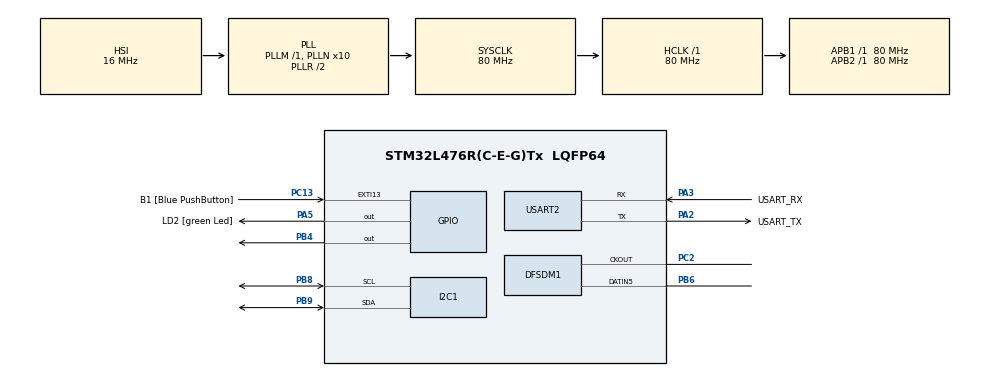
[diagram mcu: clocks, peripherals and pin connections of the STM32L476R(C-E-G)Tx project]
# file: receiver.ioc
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DFSDM1.Divider=32
DFSDM1.DmaMode_reg_FIL0=ENABLE
DFSDM1.FastMode_reg_FIL0=ENABLE
DFSDM1.Filter_regChannel_FIL0=DFSDM_CHANNEL_5
DFSDM1.Fosr_FIL0=32
DFSDM1.Oversampling_CH5=10
DFSDM1.RightBitShift_CH5=0x02
DFSDM1.SincOrder_FIL0=DFSDM_FILTER_SINC5_ORDER
DFSDM1.Type_spi_CH5=DFSDM_CHANNEL_SPI_RISING
Dma.DFSDM1_FLT0.0.Direction=DMA_PERIPH_TO_MEMORY
Dma.DFSDM1_FLT0.0.Instance=DMA1_Channel4
Dma.DFSDM1_FLT0.0.MemDataAlignment=DMA_MDATAALIGN_WORD
Dma.DFSDM1_FLT0.0.MemInc=DMA_MINC_ENABLE
Dma.DFSDM1_FLT0.0.Mode=DMA_CIRCULAR
Dma.DFSDM1_FLT0.0.PeriphDataAlignment=DMA_PDATAALIGN_WORD
Dma.DFSDM1_FLT0.0.PeriphInc=DMA_PINC_DISABLE
Dma.DFSDM1_FLT0.0.Priority=DMA_PRIORITY_LOW
Dma.Request0=DFSDM1_FLT0
Mcu.Family=STM32L4
Mcu.Name=STM32L476R(C-E-G)Tx
Mcu.Package=LQFP64
NVIC.DMA1_Channel4_IRQn=true\:0\:0\:false\:false\:true\:false
NVIC.EXTI15_10_IRQn=true\:0\:0\:false\:false\:true\:true
NVIC.PriorityGroup=NVIC_PRIORITYGROUP_4
NVIC.USART2_IRQn=true\:0\:0\:false\:false\:true\:true
PA13\ (JTMS-SWDIO).GPIO_Label=TMS
PA13\ (JTMS-SWDIO).Mode=Serial_Wire
PA13\ (JTMS-SWDIO).Signal=SYS_JTMS-SWDIO
PA14\ (JTCK-SWCLK).GPIO_Label=TCK
PA14\ (JTCK-SWCLK).Mode=Serial_Wire
PA14\ (JTCK-SWCLK).Signal=SYS_JTCK-SWCLK
PA2.GPIO_Label=USART_TX
PA2.GPIO_Mode=GPIO_MODE_AF_PP
PA2.GPIO_PuPd=GPIO_NOPULL
PA2.GPIO_Speed=GPIO_SPEED_FREQ_VERY_HIGH
PA2.Mode=Asynchronous
PA2.Signal=USART2_TX
PA3.GPIO_Label=USART_RX
PA3.GPIO_Mode=GPIO_MODE_AF_PP
PA3.GPIO_PuPd=GPIO_NOPULL
PA3.GPIO_Speed=GPIO_SPEED_FREQ_VERY_HIGH
PA3.Mode=Asynchronous
PA3.Signal=USART2_RX
PA5.GPIO_Label=LD2 [green Led]
PA5.GPIO_ModeDefaultOutputPP=GPIO_MODE_OUTPUT_PP
PA5.GPIO_PuPd=GPIO_NOPULL
PA5.GPIO_Speed=GPIO_SPEED_FREQ_LOW
PA5.Signal=GPIO_Output
PB3\ (JTDO-TRACESWO).GPIO_Label=SWO
PB3\ (JTDO-TRACESWO).Signal=SYS_JTDO-SWO
PB4\ (NJTRST).Signal=GPIO_Output
PB6.Signal=S_DATAIN5DFSDM1
PB8.Mode=I2C
PB8.Signal=I2C1_SCL
PB9.Mode=I2C
PB9.Signal=I2C1_SDA
PC13.GPIO_Label=B1 [Blue PushButton]
PC13.GPIO_ModeDefaultEXTI=GPIO_MODE_IT_FALLING
PC13.GPIO_PuPd=GPIO_NOPULL
PC13.Signal=GPXTI13
PC2.Signal=S_CKOUTDFSDM1
ProjectManager.HeapSize=0x200
ProjectManager.StackSize=0x400
ProjectManager.TargetToolchain=TrueSTUDIO
RCC.ADCFreq_Value=64000000
RCC.AHBFreq_Value=80000000
RCC.APB1Freq_Value=80000000
RCC.APB1TimFreq_Value=80000000
RCC.APB2Freq_Value=80000000
RCC.APB2TimFreq_Value=80000000
RCC.CortexFreq_Value=80000000
RCC.HCLKFreq_Value=80000000
RCC.HSE_VALUE=8000000
RCC.HSI_VALUE=16000000
RCC.LSE_VALUE=32768
RCC.MSI_VALUE=4000000
RCC.PLLN=10
RCC.PLLSourceVirtual=RCC_PLLSOURCE_HSI
RCC.PREFETCH_ENABLE=1
RCC.SYSCLKFreq_VALUE=80000000
RCC.SYSCLKSource=RCC_SYSCLKSOURCE_PLLCLK
RCC.USBFreq_Value=64000000
RCC.VCOOutputFreq_Value=160000000
SH.S_CKOUTDFSDM1.0=DFSDM1_CKOUT,PDM_SPI_input_from_ch5_and_internal_clock
SH.S_DATAIN5DFSDM1.0=DFSDM1_DATIN5,PDM_SPI_input_from_ch5_and_internal_clock
USART2.VirtualMode-Asynchronous=VM_ASYNC
USART2.WordLength=WORDLENGTH_8B
board=NUCLEO-L476RG

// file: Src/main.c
/* USER CODE BEGIN Header */
/**
 ******************************************************************************
 * @file           : main.c
 * @brief          : Main program body
 ******************************************************************************
 ** This notice applies to any and all portions of this file
 * that are not between comment pairs USER CODE BEGIN and
 * USER CODE END. Other portions of this file, whether
 * inserted by the user or by software development tools
 * are owned by their respective copyright owners.
 *
 * COPYRIGHT(c) 2018 STMicroelectronics
 *
 * Redistribution and use in source and binary forms, with or without modification,
 * are permitted provided that the following conditions are met:
 *   1. Redistributions of source code must retain the above copyright notice,
 *      this list of conditions and the following disclaimer.
 *   2. Redistributions in binary form must reproduce the above copyright notice,
 *      this list of conditions and the following disclaimer in the documentation
 *      and/or other materials provided with the distribution.
 *   3. Neither the name of STMicroelectronics nor the names of its contributors
 *      may be used to endorse or promote products derived from this software
 *      without specific prior written permission.
 *
 * THIS SOFTWARE IS PROVIDED BY THE COPYRIGHT HOLDERS AND CONTRIBUTORS "AS IS"
 * AND ANY EXPRESS OR IMPLIED WARRANTIES, INCLUDING, BUT NOT LIMITED TO, THE
 * IMPLIED WARRANTIES OF MERCHANTABILITY AND FITNESS FOR A PARTICULAR PURPOSE ARE
 * DISCLAIMED. IN NO EVENT SHALL THE COPYRIGHT HOLDER OR CONTRIBUTORS BE LIABLE
 * FOR ANY DIRECT, INDIRECT, INCIDENTAL, SPECIAL, EXEMPLARY, OR CONSEQUENTIAL
 * DAMAGES (INCLUDING, BUT NOT LIMITED TO, PROCUREMENT OF SUBSTITUTE GOODS OR
 * SERVICES; LOSS OF USE, DATA, OR PROFITS; OR BUSINESS INTERRUPTION) HOWEVER
 * CAUSED AND ON ANY THEORY OF LIABILITY, WHETHER IN CONTRACT, STRICT LIABILITY,
 * OR TORT (INCLUDING NEGLIGENCE OR OTHERWISE) ARISING IN ANY WAY OUT OF THE USE
 * OF THIS SOFTWARE, EVEN IF ADVISED OF THE POSSIBILITY OF SUCH DAMAGE.
 *
 ******************************************************************************
 */
/* USER CODE END Header */

#include "main.h"
#include "dfsdm.h"
#include "dma.h"
#include "i2c.h"
#include "usart.h"
#include "gpio.h"

/* USER CODE BEGIN Includes */
#include "math.h"
#include "stdbool.h"
#include "arm_math.h"
#include "arm_const_structs.h"
#include "chirp.h"
#include "lcd.h"
#include "stdio.h"
/* USER CODE END Includes */

/* USER CODE BEGIN PV */
/* Private variables ---------------------------------------------------------*/

const uint32_t NN_HALF = NN / 2;
const uint32_t NN_DOUBLE = NN * 2;

// flag: "new PCM data has just been copied to buf"
bool new_pcm_data = false;

// Audio sampling rate and period
float fs;
float T;

// DMA peripheral to memory buffer
int32_t buf[NN] = { 0 };

// FIFO queue of PCM data for further processing (FFT)
float fifo_queue[NN * 3] = { 0.0f };

// FFT-related
arm_rfft_fast_instance_f32 S;
float hann_window[NN];
const float WINDOW_SCALE = 2.0f * M_PI / (float) NN;

// UART output flag
bool output_result = false;

// UART input/output
uint8_t rxbuf[1];

// State machine
enum state {
  IDLE, SYNCHRONIZING, SYNCHRONIZED, DATA_RECEIVING
};
enum state state = IDLE;

const char STATE[4][16] = { "IDLE", "SYNCHRONIZING", "SYNCHRONIZED",
    "DATA_RECEIVING" };
const char SIMPLE_STATE[4] = { 'I', 'G', 'S', 'R' };

enum ope_mode {
  NORMAL, SIMPLE, DETAIL
};

const enum ope_mode MODE = DETAIL;

// Stats
struct history {
  float mag_max;  // Max magnitude in the bandwidth
  float mag_max_left;  // Max magnitude in the left
  float mag_max_right;  // Max magnitude in the right
  int32_t max_freq;  // Frequency at max magnitude in the bandwidth
  int32_t max_freq_left;   // Frequency at max magnitude in the left
  int32_t max_freq_right;  // Frequency at max magnitude in the right
  uint32_t start_time;   // DSP start time
  uint32_t finish_time;  // DSP finish time
  float mag_mean;  // Mean magnitude in the past
  float snr;  // S/N Ratio
  char rank;  // Magnitude ranking
};

uint32_t bandwidth;
uint32_t bandwidth2;
uint32_t idx_left_zero;

/* USER CODE END PV */

void SystemClock_Config(void);
/* USER CODE BEGIN PFP */
/* Private function prototypes -----------------------------------------------*/

/* USER CODE END PFP */

/* USER CODE BEGIN 0 */

int32_t idx2freq(uint32_t idx) {
  if (idx < NN_HALF) {
    return (int32_t) fs * idx / NN;
  } else {
    return ((int32_t) fs * (NN - idx) / NN) * -1;
  }
}

// Digital signal processing pipeline
void pipeline(float *signal, int updown) {

  float32_t signal_buf[NN] = { 0.0f };

  // Execute real up-chirp w/ real noise * complex up-chirp
  mult_ref_chirp(signal, updown);

  // Windowing
  arm_mult_f32(signal, hann_window, signal, NN);

  // Execute real FFT
  arm_rfft_fast_f32(&S, signal, signal_buf, 0);
  arm_copy_f32(signal_buf, signal, NN);

  // Calculate magnitude
  arm_cmplx_mag_f32(signal, signal, NN);

}

// Digital signal processing
void dsp(uint32_t sync_position, struct history *phist, float32_t mag_mean,
    int updown) {

  float32_t time_frame[NN_DOUBLE];

  float mag_max;
  float mag_max_left;
  float mag_max_right;
  uint32_t max_idx;
  uint32_t max_idx_left;
  uint32_t max_idx_right;

  // Copy PCM data to input/output buffer for DSP
  for (uint32_t n = 0; n < NN; n++) {
    time_frame[n] = fifo_queue[sync_position + n];
  }

  uint32_t start_time = HAL_GetTick();

// Digital signal processing pipeline
  pipeline(time_frame, updown);

// Calculate indexes of max magnitudes
  arm_max_f32(&time_frame[idx_left_zero], bandwidth2, &mag_max_left,
      &max_idx_left);
  arm_max_f32(&time_frame[0], bandwidth2, &mag_max_right, &max_idx_right);
  if (mag_max_left > mag_max_right) {
    mag_max = mag_max_left;
    max_idx = idx_left_zero + max_idx_left;
  } else {
    mag_max = mag_max_right;
    max_idx = max_idx_right;
  }

  uint32_t finish_time = HAL_GetTick();

  // Stats
  phist->mag_max = mag_max;
  phist->mag_max_left = mag_max_left;
  phist->mag_max_right = mag_max_right;
  phist->max_freq = idx2freq(max_idx);
  phist->max_freq_left = idx2freq(idx_left_zero + max_idx_left);
  phist->max_freq_right = idx2freq(max_idx_right);
  phist->start_time = start_time;
  phist->finish_time = finish_time;
  phist->mag_mean = mag_mean;
  phist->snr = (mag_max - mag_mean) / mag_mean;

}

float32_t symbol_snr(uint32_t sync_position, struct history *phist, int updown) {
  dsp(sync_position, phist, phist->mag_mean, updown);
  return phist->snr;
}

void set_ranks(struct history hist[], char r0, char r1) {
  hist[0].rank = r0;
  hist[1].rank = r1;
}

void resync(float32_t snr, struct history hist[], uint32_t offset,
    uint32_t *sync_position, int updown) {

  int32_t sync_position_l = *sync_position - offset;
  int32_t sync_position_r = *sync_position + offset;

  float32_t snr_l = symbol_snr(sync_position_l, &hist[2], updown);
  float32_t snr_r = symbol_snr(sync_position_r, &hist[3], updown);

  if ((snr > snr_l) && (snr > snr_r)) {
    set_ranks(&hist[2], '-', '-');
  } else {  // Adjust sync_position

    if (snr_l >= snr_r) {
      if (sync_position_l >= 0) {
        *sync_position = sync_position_l;
        set_ranks(&hist[2], 'L', '-');  // move sync_position left
      } else {
        set_ranks(&hist[2], 'l', '-');  // reached left edge
      }
    } else if (snr_l < snr_r) {
      if (sync_position_r <= NN_DOUBLE) {
        *sync_position = sync_position_r;
        set_ranks(&hist[2], '-', 'R');  // move sync_position right
      } else {
        set_ranks(&hist[2], '-', 'r');  // reached right edge
      }
    }

  }
}

void print_history(enum state prev_state, enum state state,
    struct history hist[], int num, enum ope_mode mode) {

  switch (mode) {

  case NORMAL:
    break;

  case SIMPLE:
    printf("%c => %c\n", SIMPLE_STATE[prev_state], SIMPLE_STATE[state]);
    for (int i = 0; i < num; i++) {
      printf("%c,%6.1f\n", hist[i].rank, hist[i].snr);
    }
    break;

  case DETAIL:
    printf("\nstate: %s => %s\n", STATE[prev_state], STATE[state]);
    printf(
        "r,  freq,freq_l,freq_r, t_s, t_f,      max,    max_l,    max_r, mag_mean,   snr\n");
    for (int i = 0; i < num; i++) {
      printf("%c,%6ld,%6ld,%6ld,%4lu,%4lu, %4.2e, %4.2e, %4.2e, %4.2e,%6.1f\n",
          hist[i].rank, hist[i].max_freq, hist[i].max_freq_left,
          hist[i].max_freq_right, hist[i].start_time % 1000,
          hist[i].finish_time % 1000, hist[i].mag_max, hist[i].mag_max_left,
          hist[i].mag_max_right, hist[i].mag_mean, hist[i].snr);
    }
    break;
  }
}

/* USER CODE END 0 */

int main(void) {
  /* USER CODE BEGIN 1 */

  uint32_t max_idx = 0;
  uint32_t turn = 0;
  uint32_t offset, shift;

// Stats-related
  struct history history[8];

  float mag_stat[12] = { 1E37, 1E37, 1E37, 1E37, 1E37, 1E37, 1E37, 1E37, 1E37,
      1E37, 1E37, 1E37 };

  float mag_max;
  float mag_mean;
  float mag_max_max;

  // Time frame synchronization
  uint32_t sync_cnt = 0;
  uint32_t sync_position = NN_HALF;
  float32_t snr, snr_up, snr_down;

  enum state prev_state = IDLE;

  char msg = 0U;
  int msg_cnt = 0;
  char line[17];
  int line_cnt = 0;

  /* USER CODE END 1 */

  /* MCU Configuration--------------------------------------------------------*/

  /* Reset of all peripherals, Initializes the Flash interface and the Systick. */
  HAL_Init();

  /* Configure the system clock */
  SystemClock_Config();

  /* Initialize all configured peripherals */
  MX_GPIO_Init();
  MX_DMA_Init();
  MX_USART2_UART_Init();
  MX_I2C1_Init();
  MX_DFSDM1_Init();
  /* USER CODE BEGIN 2 */

// FFT sampling rate
  fs = SystemCoreClock / hdfsdm1_channel5.Init.OutputClock.Divider
      / hdfsdm1_filter0.Init.FilterParam.Oversampling
      / hdfsdm1_filter0.Init.FilterParam.IntOversampling;

// Statistics-related
  bandwidth = (F1 - F0) * NN / fs;
  bandwidth2 = bandwidth * 2;
  idx_left_zero = NN - bandwidth2;

  // Real FFT initialization
  arm_rfft_fast_init_f32(&S, NN);

// Initialize reference chirp signal
  init_ref_chirp(fs);

// Enable UART receive interrupt
  HAL_UART_Receive_IT(&huart2, rxbuf, 1);

// Enable DMA from DFSDM to buf (peripheral to memory)
  if (HAL_DFSDM_FilterRegularStart_DMA(&hdfsdm1_filter0, buf, NN) != HAL_OK) {
    Error_Handler();
  }

// Generate Hanning window
  for (uint32_t i = 0; i < NN; i++) {
    hann_window[i] = 0.5f - 0.5f * arm_cos_f32((float) i * WINDOW_SCALE);
  }

// Print starting message
  printf("/// Receiver ///\n\n");
  printf("Sampling rate: %4.1f(kHz)\n", (float) fs / 1000.0f);
  T = 1.0f / fs * NN;
  printf("Sampling period: %.1f(msec), Samples per period: %ld\n\n",
      T * 1000.0f, NN);
  printf("Push USER button to output single-shot FFT\n");
  /* USER CODE END 2 */

  /* Infinite loop */
  /* USER CODE BEGIN WHILE */
  offset = NN / 8;
  shift = NN / 4;

  /* LCD initialization */
  lcd_init(&hi2c1);
  lcd_string("Receiver start", 15);

  /* LED initialization */
  int led_state = GPIO_PIN_SET;
  HAL_GPIO_WritePin(GPIOB, GPIO_PIN_4, led_state);

  while (1) {

    HAL_Delay(1);

    // Wait for next PCM samples from DFSDM (MEMS mic)
    if (new_pcm_data) {

      prev_state = state;

      switch (state) {

      case IDLE:

        sync_cnt = 0;
        arm_mean_f32(&mag_stat[4], 8, &mag_mean);
        led_state = GPIO_PIN_SET;
        HAL_GPIO_WritePin(GPIOB, GPIO_PIN_4, led_state);
        // intentionally no break here

      case SYNCHRONIZING:

        // Execute FFT four times per time frame (every 20.5msec)
        //
        //             sync_position = turn * offset + shift * i
        //             |
        //             V
        // data        <-2048 samples->
        // turn 0  |---|---|---|---|
        // turn 1  : |---|---|---|---|
        //          -> offset
        for (uint32_t i = 0; i < 4; i++) {
          sync_position = NN_HALF + turn * offset + shift * i;
          int idx = i * 2 + turn;  // Stats index
          dsp(sync_position, &history[idx], mag_mean, UP_CHIRP);
        }

        turn = (turn == 0) ? 1 : 0;

        if (turn == 1) {

          // Shift magnitude history
          for (int i = 10; i >= 0; i--) {
            mag_stat[i + 1] = mag_stat[i];
          }

          // Find max magnitude in the history
          mag_max_max = 0.0f;
          for (int i = 0; i < 8; i++) {
            history[i].rank = '-';
            mag_max = history[i].mag_max;
            if (mag_max > mag_max_max) {
              mag_max_max = mag_max;
              max_idx = i;
            }
          }

          mag_stat[0] = mag_max_max;  // TODO: is this necessary?
          history[max_idx].rank = '+';

          // S/N Ratio
          snr = (mag_max_max - mag_mean) / mag_mean;

          if (snr >= SNR_THRESHOLD) {
            state = SYNCHRONIZING;
            if (++sync_cnt >= 3) {
              state = SYNCHRONIZED;
              sync_position = NN_HALF + max_idx * offset;
            }
          } else {
            state = IDLE;
          }
        }
        break;

      case SYNCHRONIZED:

        snr_up = symbol_snr(sync_position, &history[0], UP_CHIRP);
        snr_down = symbol_snr(sync_position, &history[1], DOWN_CHIRP);

        if ((snr_up >= SNR_THRESHOLD) || (snr_down >= SNR_THRESHOLD)) {

          if (snr_down > snr_up) {
            set_ranks(history, '-', 'D');
            resync(snr_down, history, offset, &sync_position, DOWN_CHIRP);
            state = DATA_RECEIVING;
          } else {
            set_ranks(history, 'U', '-');
            resync(snr_up, history, offset, &sync_position, UP_CHIRP);
          }

        } else {
          state = IDLE;
        }
        break;

      case DATA_RECEIVING:

        led_state =
            (led_state == GPIO_PIN_RESET) ? GPIO_PIN_SET : GPIO_PIN_RESET;
        HAL_GPIO_WritePin(GPIOB, GPIO_PIN_4, led_state);

        snr_up = symbol_snr(sync_position, &history[0], UP_CHIRP);
        snr_down = symbol_snr(sync_position, &history[1], DOWN_CHIRP);

        if ((snr_up >= SNR_THRESHOLD) || (snr_down >= SNR_THRESHOLD)) {

          if (snr_down > snr_up) {  // Bit low
            set_ranks(history, '-', '0');
            msg = (msg << 1) + 0;
            resync(snr_down, history, offset, &sync_position, DOWN_CHIRP);
          } else {  // Bit high
            set_ranks(history, '1', '-');
            msg = (msg << 1) + 1;
            resync(snr_up, history, offset, &sync_position, UP_CHIRP);
          }
          if (++msg_cnt >= 8) {
            printf("%c", msg);
            sprintf(&line[line_cnt++], "%c", msg);
            msg = 0U;
            msg_cnt = 0;
          }

        } else {
          printf("\n");
          line[line_cnt] = '\0';
          lcd_print_scroll(line);
          state = IDLE;
          msg = 0U;
          msg_cnt = 0;
          line_cnt = 0;
          led_state = GPIO_PIN_SET;
          HAL_GPIO_WritePin(GPIOB, GPIO_PIN_4, led_state);
        }
        break;

      default:
        break;
      }

      switch (prev_state) {
      case IDLE:
        if (state == SYNCHRONIZING) {
          //print_history(prev_state, state, history, 8, MODE);
        }
        break;
      case SYNCHRONIZING:
        if (turn == 1) {  // Output debug info
          //print_history(prev_state, state, history, 8, MODE);
        }
        break;
      case SYNCHRONIZED:
        //print_history(prev_state, state, history, 4, MODE);
        break;
      case DATA_RECEIVING:
        //print_history(prev_state, state, history, 4, MODE);
        break;
      default:
        break;
      }

      new_pcm_data = false;

    }
  }

  /* USER CODE END WHILE */

}

void SystemClock_Config(void) {
  RCC_OscInitTypeDef RCC_OscInitStruct = { 0 };
  RCC_ClkInitTypeDef RCC_ClkInitStruct = { 0 };
  RCC_PeriphCLKInitTypeDef PeriphClkInit = { 0 };

  /**Initializes the CPU, AHB and APB busses clocks
   */
  RCC_OscInitStruct.OscillatorType = RCC_OSCILLATORTYPE_HSI;
  RCC_OscInitStruct.HSIState = RCC_HSI_ON;
  RCC_OscInitStruct.HSICalibrationValue = RCC_HSICALIBRATION_DEFAULT;
  RCC_OscInitStruct.PLL.PLLState = RCC_PLL_ON;
  RCC_OscInitStruct.PLL.PLLSource = RCC_PLLSOURCE_HSI;
  RCC_OscInitStruct.PLL.PLLM = 1;
  RCC_OscInitStruct.PLL.PLLN = 10;
  RCC_OscInitStruct.PLL.PLLP = RCC_PLLP_DIV7;
  RCC_OscInitStruct.PLL.PLLQ = RCC_PLLQ_DIV2;
  RCC_OscInitStruct.PLL.PLLR = RCC_PLLR_DIV2;
  if (HAL_RCC_OscConfig(&RCC_OscInitStruct) != HAL_OK) {
    Error_Handler();
  }
  /**Initializes the CPU, AHB and APB busses clocks
   */
  RCC_ClkInitStruct.ClockType = RCC_CLOCKTYPE_HCLK | RCC_CLOCKTYPE_SYSCLK
      | RCC_CLOCKTYPE_PCLK1 | RCC_CLOCKTYPE_PCLK2;
  RCC_ClkInitStruct.SYSCLKSource = RCC_SYSCLKSOURCE_PLLCLK;
  RCC_ClkInitStruct.AHBCLKDivider = RCC_SYSCLK_DIV1;
  RCC_ClkInitStruct.APB1CLKDivider = RCC_HCLK_DIV1;
  RCC_ClkInitStruct.APB2CLKDivider = RCC_HCLK_DIV1;

  if (HAL_RCC_ClockConfig(&RCC_ClkInitStruct, FLASH_LATENCY_4) != HAL_OK) {
    Error_Handler();
  }
  PeriphClkInit.PeriphClockSelection = RCC_PERIPHCLK_USART2 | RCC_PERIPHCLK_I2C1
      | RCC_PERIPHCLK_DFSDM1;
  PeriphClkInit.Usart2ClockSelection = RCC_USART2CLKSOURCE_PCLK1;
  PeriphClkInit.I2c1ClockSelection = RCC_I2C1CLKSOURCE_PCLK1;
  PeriphClkInit.Dfsdm1ClockSelection = RCC_DFSDM1CLKSOURCE_PCLK;
  if (HAL_RCCEx_PeriphCLKConfig(&PeriphClkInit) != HAL_OK) {
    Error_Handler();
  }
  /**Configure the main internal regulator output voltage
   */
  if (HAL_PWREx_ControlVoltageScaling(PWR_REGULATOR_VOLTAGE_SCALE1) != HAL_OK) {
    Error_Handler();
  }
}

/* USER CODE BEGIN 4 */

/**
 * @brief  Half regular conversion complete callback.
 * @param  hdfsdm_filter : DFSDM filter handle.
 * @retval None
 */
void HAL_DFSDM_FilterRegConvHalfCpltCallback(
    DFSDM_Filter_HandleTypeDef *hdfsdm_filter) {

}

/**
 * @brief  Regular conversion complete callback.
 * @note   In interrupt mode, user has to read conversion value in this function
 using HAL_DFSDM_FilterGetRegularValue.
 * @param  hdfsdm_filter : DFSDM filter handle.
 * @retval None
 */
void HAL_DFSDM_FilterRegConvCpltCallback(
    DFSDM_Filter_HandleTypeDef *hdfsdm_filter) {
  if (!new_pcm_data && (hdfsdm_filter == &hdfsdm1_filter0)) {
    arm_copy_f32(&fifo_queue[NN], fifo_queue, NN_DOUBLE);
    for (uint32_t i = 0; i < NN; i++) {
      fifo_queue[NN_DOUBLE + i] = (float) buf[i];
    }
    new_pcm_data = true;
  }
}

/**
 * @brief  Retargets the C library printf function to the USART.
 * @param  None
 * @retval None
 */
int _write(int file, char *ptr, int len) {
  HAL_UART_Transmit(&huart2, (uint8_t *) ptr, (uint16_t) len, 0xFFFFFFFF);
  return len;
}

/**
 * @brief  GPIO External Interrupt callback
 * @param  GPIO_Pin
 * @retval None
 */
void HAL_GPIO_EXTI_Callback(uint16_t GPIO_Pin) {
  if (GPIO_Pin == GPIO_PIN_13) {  // User button (blue tactile switch)
    HAL_GPIO_WritePin(LD2_GPIO_Port, LD2_Pin, GPIO_PIN_SET);
    output_result = true;
  }
}

void HAL_UART_RxCpltCallback(UART_HandleTypeDef *huart) {

  switch (rxbuf[0]) {
    default:
    break;
  }

  output_result = true;

  HAL_GPIO_WritePin(LD2_GPIO_Port, LD2_Pin, GPIO_PIN_SET);
  HAL_UART_Receive_IT(&huart2, rxbuf, 1);
}
/* USER CODE END 4 */

void Error_Handler(void) {
  while (1) {
  }
}

/************************ (C) COPYRIGHT STMicroelectronics *****END OF FILE****/
